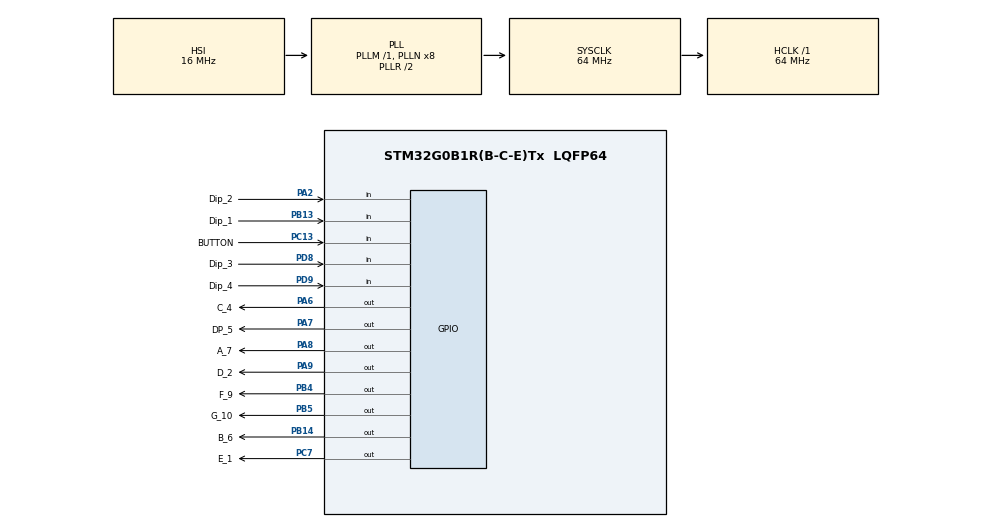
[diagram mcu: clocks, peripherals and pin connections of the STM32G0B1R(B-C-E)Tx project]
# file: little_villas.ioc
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Mcu.Family=STM32G0
Mcu.Name=STM32G0B1R(B-C-E)Tx
Mcu.Package=LQFP64
PA13.Mode=Serial_Wire
PA13.Signal=SYS_SWDIO
PA14-BOOT0.Mode=Serial_Wire
PA14-BOOT0.Signal=SYS_SWCLK
PA2.GPIO_Label=Dip_2
PA2.GPIO_PuPd=GPIO_PULLUP
PA2.Signal=GPIO_Input
PA6.GPIO_Label=C_4
PA6.Signal=GPIO_Output
PA7.GPIO_Label=DP_5
PA7.Signal=GPIO_Output
PA8.GPIO_Label=A_7
PA8.Signal=GPIO_Output
PA9.GPIO_Label=D_2
PA9.Signal=GPIO_Output
PB13.GPIO_Label=Dip_1
PB13.GPIO_PuPd=GPIO_PULLUP
PB13.Signal=GPIO_Input
PB14.GPIO_Label=B_6
PB14.Signal=GPIO_Output
PB4.GPIO_Label=F_9
PB4.Signal=GPIO_Output
PB5.GPIO_Label=G_10
PB5.Signal=GPIO_Output
PC13.GPIO_Label=BUTTON
PC13.Signal=GPIO_Input
PC7.GPIO_Label=E_1
PC7.Signal=GPIO_Output
PD8.GPIO_Label=Dip_3
PD8.GPIO_PuPd=GPIO_PULLUP
PD8.Signal=GPIO_Input
PD9.GPIO_Label=Dip_4
PD9.GPIO_PuPd=GPIO_PULLUP
PD9.Signal=GPIO_Input
ProjectManager.HeapSize=0x200
ProjectManager.StackSize=0x400
ProjectManager.TargetToolchain=STM32CubeIDE
RCC.ADCFreq_Value=64000000
RCC.AHBFreq_Value=64000000
RCC.CortexFreq_Value=64000000
RCC.EXTERNAL_CLOCK_VALUE=48000
RCC.HCLKFreq_Value=64000000
RCC.HSE_VALUE=8000000
RCC.HSI48_VALUE=48000000
RCC.HSI_VALUE=16000000
RCC.LSE_VALUE=32768
RCC.SYSCLKFreq_VALUE=64000000
RCC.SYSCLKSource=RCC_SYSCLKSOURCE_PLLCLK
RCC.USBFreq_Value=48000000
RCC.VCOOutputFreq_Value=128000000
VP_SYS_VS_DBSignals.Mode=DisableDeadBatterySignals
board=custom

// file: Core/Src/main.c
/* USER CODE BEGIN Header */
/**
  ******************************************************************************
  * @file           : main.c
  * @brief          : Main program body
  ******************************************************************************
  * @attention
  *
  * Copyright (c) 2022 STMicroelectronics.
  * All rights reserved.
  *
  * This software is licensed under terms that can be found in the LICENSE file
  * in the root directory of this software component.
  * If no LICENSE file comes with this software, it is provided AS-IS.
  *
  ******************************************************************************
  */
/* USER CODE END Header */
#include "main.h"
#include <stdint.h>

uint16_t soma_0;
uint8_t p_4;
uint8_t p_3;
uint8_t p_2;
uint8_t p_1;

void SystemClock_Config(void);
static void MX_GPIO_Init(void);

int main(void)
{

  /* MCU Configuration--------------------------------------------------------*/

  /* Reset of all peripherals, Initializes the Flash interface and the Systick. */
  HAL_Init();

  /* Configure the system clock */
  SystemClock_Config();

  /* Initialize all configured peripherals */
  MX_GPIO_Init();

  /* Infinite loop */
  /* USER CODE BEGIN WHILE */
  while (1)
  {
	p_4 = HAL_GPIO_ReadPin(Dip_4_GPIO_Port, Dip_4_Pin)*1;
	p_3 = HAL_GPIO_ReadPin(Dip_3_GPIO_Port, Dip_3_Pin)*2;
	p_2 = HAL_GPIO_ReadPin(Dip_2_GPIO_Port, Dip_2_Pin)*4;
	p_1 = HAL_GPIO_ReadPin(Dip_1_GPIO_Port, Dip_1_Pin)*8;

	soma_0 = p_4 + p_3 + p_2 + p_1;

	  switch(soma_0) {
	  	  	  case 0:
	  	  		HAL_GPIO_WritePin(A_7_GPIO_Port, A_7_Pin, 1);
	  	  	    HAL_GPIO_WritePin(B_6_GPIO_Port, B_6_Pin, 1);
	  	  		HAL_GPIO_WritePin(C_4_GPIO_Port, C_4_Pin, 1);
	  	  		HAL_GPIO_WritePin(D_2_GPIO_Port, D_2_Pin, 1);
	  	  		HAL_GPIO_WritePin(E_1_GPIO_Port, E_1_Pin, 1);
	  	  		HAL_GPIO_WritePin(F_9_GPIO_Port, F_9_Pin, 1);
	  	  		HAL_GPIO_WritePin(G_10_GPIO_Port, G_10_Pin, 0);
	  	  		HAL_GPIO_WritePin(DP_5_GPIO_Port, DP_5_Pin, 0);

	  		  	  break;

	  	  	  case 1:
	  	  		HAL_GPIO_WritePin(A_7_GPIO_Port, A_7_Pin, 0);
	  	  		HAL_GPIO_WritePin(B_6_GPIO_Port, B_6_Pin, 1);
	  	  		HAL_GPIO_WritePin(C_4_GPIO_Port, C_4_Pin, 1);
	  	  		HAL_GPIO_WritePin(D_2_GPIO_Port, D_2_Pin, 0);
	  	  		HAL_GPIO_WritePin(E_1_GPIO_Port, E_1_Pin, 0);
	  	  		HAL_GPIO_WritePin(F_9_GPIO_Port, F_9_Pin, 0);
	  	  		HAL_GPIO_WritePin(G_10_GPIO_Port, G_10_Pin, 0);
	  	  		HAL_GPIO_WritePin(DP_5_GPIO_Port, DP_5_Pin, 0);

	  	  		  break;

	  	  	  case 2:
	  	  		HAL_GPIO_WritePin(A_7_GPIO_Port, A_7_Pin, 1);
	  	  		HAL_GPIO_WritePin(B_6_GPIO_Port, B_6_Pin, 1);
	  	  		HAL_GPIO_WritePin(C_4_GPIO_Port, C_4_Pin, 0);
	  	  		HAL_GPIO_WritePin(D_2_GPIO_Port, D_2_Pin, 1);
	  	  		HAL_GPIO_WritePin(E_1_GPIO_Port, E_1_Pin, 1);
	  	  		HAL_GPIO_WritePin(F_9_GPIO_Port, F_9_Pin, 0);
	  	  		HAL_GPIO_WritePin(G_10_GPIO_Port, G_10_Pin, 1);
	  	  		HAL_GPIO_WritePin(DP_5_GPIO_Port, DP_5_Pin, 0);

	  	  		  break;

	  	  	  case 3:
	  	  		HAL_GPIO_WritePin(A_7_GPIO_Port, A_7_Pin, 1);
	  	  		HAL_GPIO_WritePin(B_6_GPIO_Port, B_6_Pin, 0);
	  	  		HAL_GPIO_WritePin(C_4_GPIO_Port, C_4_Pin, 0);
	  	  		HAL_GPIO_WritePin(D_2_GPIO_Port, D_2_Pin, 1);
	  	  		HAL_GPIO_WritePin(E_1_GPIO_Port, E_1_Pin, 1);
	  	  		HAL_GPIO_WritePin(F_9_GPIO_Port, F_9_Pin, 1);
				HAL_GPIO_WritePin(G_10_GPIO_Port, G_10_Pin, 1);
				HAL_GPIO_WritePin(DP_5_GPIO_Port, DP_5_Pin, 0);

	  	  		  break;

	  	  	  case 4:
	  	  		HAL_GPIO_WritePin(A_7_GPIO_Port, A_7_Pin, 0);
				HAL_GPIO_WritePin(B_6_GPIO_Port, B_6_Pin, 0);
				HAL_GPIO_WritePin(C_4_GPIO_Port, C_4_Pin, 1);
				HAL_GPIO_WritePin(D_2_GPIO_Port, D_2_Pin, 0);
				HAL_GPIO_WritePin(E_1_GPIO_Port, E_1_Pin, 1);
				HAL_GPIO_WritePin(F_9_GPIO_Port, F_9_Pin, 1);
				HAL_GPIO_WritePin(G_10_GPIO_Port, G_10_Pin, 1);
				HAL_GPIO_WritePin(DP_5_GPIO_Port, DP_5_Pin, 0);

	  	  		  break;

	  	  	  case 5:
	  	  		HAL_GPIO_WritePin(A_7_GPIO_Port, A_7_Pin, 1);
				HAL_GPIO_WritePin(B_6_GPIO_Port, B_6_Pin, 0);
				HAL_GPIO_WritePin(C_4_GPIO_Port, C_4_Pin, 1);
				HAL_GPIO_WritePin(D_2_GPIO_Port, D_2_Pin, 1);
				HAL_GPIO_WritePin(E_1_GPIO_Port, E_1_Pin, 0);
				HAL_GPIO_WritePin(F_9_GPIO_Port, F_9_Pin, 1);
				HAL_GPIO_WritePin(G_10_GPIO_Port, G_10_Pin, 1);
				HAL_GPIO_WritePin(DP_5_GPIO_Port, DP_5_Pin, 0);

	  	  		  break;

	  	  	  case 6:
	  	  		HAL_GPIO_WritePin(A_7_GPIO_Port, A_7_Pin, 1);
				HAL_GPIO_WritePin(B_6_GPIO_Port, B_6_Pin, 1);
				HAL_GPIO_WritePin(C_4_GPIO_Port, C_4_Pin, 1);
				HAL_GPIO_WritePin(D_2_GPIO_Port, D_2_Pin, 1);
				HAL_GPIO_WritePin(E_1_GPIO_Port, E_1_Pin, 0);
				HAL_GPIO_WritePin(F_9_GPIO_Port, F_9_Pin, 1);
				HAL_GPIO_WritePin(G_10_GPIO_Port, G_10_Pin, 1);
				HAL_GPIO_WritePin(DP_5_GPIO_Port, DP_5_Pin, 0);

	  	  		  break;

	  	  	  case 7:
	  	  		HAL_GPIO_WritePin(A_7_GPIO_Port, A_7_Pin, 0);
				HAL_GPIO_WritePin(B_6_GPIO_Port, B_6_Pin, 0);
				HAL_GPIO_WritePin(C_4_GPIO_Port, C_4_Pin, 0);
				HAL_GPIO_WritePin(D_2_GPIO_Port, D_2_Pin, 1);
				HAL_GPIO_WritePin(E_1_GPIO_Port, E_1_Pin, 1);
				HAL_GPIO_WritePin(F_9_GPIO_Port, F_9_Pin, 1);
				HAL_GPIO_WritePin(G_10_GPIO_Port, G_10_Pin, 0);
				HAL_GPIO_WritePin(DP_5_GPIO_Port, DP_5_Pin, 0);

	  	  		  break;

	  	  	  case 8:
	  	  		  HAL_GPIO_WritePin(A_7_GPIO_Port, A_7_Pin, 1);
	  	  		  HAL_GPIO_WritePin(B_6_GPIO_Port, B_6_Pin, 1);
	  	  		  HAL_GPIO_WritePin(C_4_GPIO_Port, C_4_Pin, 1);
	  	  		  HAL_GPIO_WritePin(D_2_GPIO_Port, D_2_Pin, 1);
	  	  		  HAL_GPIO_WritePin(E_1_GPIO_Port, E_1_Pin, 1);
	  	  		  HAL_GPIO_WritePin(F_9_GPIO_Port, F_9_Pin, 1);
	  	  		  HAL_GPIO_WritePin(G_10_GPIO_Port, G_10_Pin, 1);
	  	  		  HAL_GPIO_WritePin(DP_5_GPIO_Port, DP_5_Pin, 0);

	  	  		  break;

	  	  	  case 9:
	  	  		  HAL_GPIO_WritePin(A_7_GPIO_Port, A_7_Pin, 1);
	  	  		  HAL_GPIO_WritePin(B_6_GPIO_Port, B_6_Pin, 0);
	  	  		  HAL_GPIO_WritePin(C_4_GPIO_Port, C_4_Pin, 1);
	  	  		  HAL_GPIO_WritePin(D_2_GPIO_Port, D_2_Pin, 1);
	  	  		  HAL_GPIO_WritePin(E_1_GPIO_Port, E_1_Pin, 1);
	  	  		  HAL_GPIO_WritePin(F_9_GPIO_Port, F_9_Pin, 1);
	  	  		  HAL_GPIO_WritePin(G_10_GPIO_Port, G_10_Pin, 1);
	  	  		  HAL_GPIO_WritePin(DP_5_GPIO_Port, DP_5_Pin, 0);

	  	  		  break;

	  	  	  case 10:
	  	  		  HAL_GPIO_WritePin(A_7_GPIO_Port, A_7_Pin, 0);
	  	  		  HAL_GPIO_WritePin(B_6_GPIO_Port, B_6_Pin, 1);
	  	  		  HAL_GPIO_WritePin(C_4_GPIO_Port, C_4_Pin, 1);
	  	  		  HAL_GPIO_WritePin(D_2_GPIO_Port, D_2_Pin, 1);
	  	  		  HAL_GPIO_WritePin(E_1_GPIO_Port, E_1_Pin, 1);
	  	  		  HAL_GPIO_WritePin(F_9_GPIO_Port, F_9_Pin, 1);
	  	  		  HAL_GPIO_WritePin(G_10_GPIO_Port, G_10_Pin, 1);
	  	  		  HAL_GPIO_WritePin(DP_5_GPIO_Port, DP_5_Pin, 1);
	  	  		  break;

	  	  	  case 11:
	  	  		  HAL_GPIO_WritePin(A_7_GPIO_Port, A_7_Pin, 1);
	  	  		  HAL_GPIO_WritePin(B_6_GPIO_Port, B_6_Pin, 1);
	  	  		  HAL_GPIO_WritePin(C_4_GPIO_Port, C_4_Pin, 1);
	  		  	  HAL_GPIO_WritePin(D_2_GPIO_Port, D_2_Pin, 1);
	  		  	  HAL_GPIO_WritePin(E_1_GPIO_Port, E_1_Pin, 1);
	  		  	  HAL_GPIO_WritePin(F_9_GPIO_Port, F_9_Pin, 1);
	  		  	  HAL_GPIO_WritePin(G_10_GPIO_Port, G_10_Pin, 1);
	  		  	  HAL_GPIO_WritePin(DP_5_GPIO_Port, DP_5_Pin, 1);
	  		  	  break;

	  	  	  case 12:
	  	  		  HAL_GPIO_WritePin(A_7_GPIO_Port, A_7_Pin, 1);
	  	  		  HAL_GPIO_WritePin(B_6_GPIO_Port, B_6_Pin, 1);
				  HAL_GPIO_WritePin(C_4_GPIO_Port, C_4_Pin, 1);
	  	  		  HAL_GPIO_WritePin(D_2_GPIO_Port, D_2_Pin, 1);
	  	  		  HAL_GPIO_WritePin(E_1_GPIO_Port, E_1_Pin, 0);
	  	  		  HAL_GPIO_WritePin(F_9_GPIO_Port, F_9_Pin, 0);
	  	  		  HAL_GPIO_WritePin(G_10_GPIO_Port, G_10_Pin, 0);
	  	  		  HAL_GPIO_WritePin(DP_5_GPIO_Port, DP_5_Pin, 1);
	  	  		  break;

	  	  	  case 13:
	  	  		  HAL_GPIO_WritePin(A_7_GPIO_Port, A_7_Pin, 1);
	  	  		  HAL_GPIO_WritePin(B_6_GPIO_Port, B_6_Pin, 1);
	  	  		  HAL_GPIO_WritePin(C_4_GPIO_Port, C_4_Pin, 1);
	  	  		  HAL_GPIO_WritePin(D_2_GPIO_Port, D_2_Pin, 1);
	  	  		  HAL_GPIO_WritePin(E_1_GPIO_Port, E_1_Pin, 1);
	  	  		  HAL_GPIO_WritePin(F_9_GPIO_Port, F_9_Pin, 1);
	  	  		  HAL_GPIO_WritePin(G_10_GPIO_Port, G_10_Pin, 0);
	  	  		  HAL_GPIO_WritePin(DP_5_GPIO_Port, DP_5_Pin, 1);
	  	  		  break;

	  	  	  case 14:
	  	  		  HAL_GPIO_WritePin(A_7_GPIO_Port, A_7_Pin, 1);
	  	  		  HAL_GPIO_WritePin(B_6_GPIO_Port, B_6_Pin, 1);
				  HAL_GPIO_WritePin(C_4_GPIO_Port, C_4_Pin, 1);
	  	  		  HAL_GPIO_WritePin(D_2_GPIO_Port, D_2_Pin, 1);
	  	  		  HAL_GPIO_WritePin(E_1_GPIO_Port, E_1_Pin, 0);
	  	  		  HAL_GPIO_WritePin(F_9_GPIO_Port, F_9_Pin, 0);
	  	  		  HAL_GPIO_WritePin(G_10_GPIO_Port, G_10_Pin, 1);
	  	  		  HAL_GPIO_WritePin(DP_5_GPIO_Port, DP_5_Pin, 1);
	  	  		  break;

	  	  	  case 15:
	  	  		  HAL_GPIO_WritePin(A_7_GPIO_Port, A_7_Pin, 0);
	  	  		  HAL_GPIO_WritePin(B_6_GPIO_Port, B_6_Pin, 1);
				  HAL_GPIO_WritePin(C_4_GPIO_Port, C_4_Pin, 1);
				  HAL_GPIO_WritePin(D_2_GPIO_Port, D_2_Pin, 1);
	  	  		  HAL_GPIO_WritePin(E_1_GPIO_Port, E_1_Pin, 0);
	  	  		  HAL_GPIO_WritePin(F_9_GPIO_Port, F_9_Pin, 0);
	  	  		  HAL_GPIO_WritePin(G_10_GPIO_Port, G_10_Pin, 1);
	  	  		  HAL_GPIO_WritePin(DP_5_GPIO_Port, DP_5_Pin, 1);
	  	  		  break;

	  	  	  default:
	  	  		  break;

	  	  	 }

    /* USER CODE END WHILE */

  }
}

void SystemClock_Config(void)
{
  RCC_OscInitTypeDef RCC_OscInitStruct = {0};
  RCC_ClkInitTypeDef RCC_ClkInitStruct = {0};

  /** Configure the main internal regulator output voltage
  */
  HAL_PWREx_ControlVoltageScaling(PWR_REGULATOR_VOLTAGE_SCALE1);
  /** Initializes the RCC Oscillators according to the specified parameters
  * in the RCC_OscInitTypeDef structure.
  */
  RCC_OscInitStruct.OscillatorType = RCC_OSCILLATORTYPE_HSI;
  RCC_OscInitStruct.HSIState = RCC_HSI_ON;
  RCC_OscInitStruct.HSIDiv = RCC_HSI_DIV1;
  RCC_OscInitStruct.HSICalibrationValue = RCC_HSICALIBRATION_DEFAULT;
  RCC_OscInitStruct.PLL.PLLState = RCC_PLL_ON;
  RCC_OscInitStruct.PLL.PLLSource = RCC_PLLSOURCE_HSI;
  RCC_OscInitStruct.PLL.PLLM = RCC_PLLM_DIV1;
  RCC_OscInitStruct.PLL.PLLN = 8;
  RCC_OscInitStruct.PLL.PLLP = RCC_PLLP_DIV2;
  RCC_OscInitStruct.PLL.PLLQ = RCC_PLLQ_DIV2;
  RCC_OscInitStruct.PLL.PLLR = RCC_PLLR_DIV2;
  if (HAL_RCC_OscConfig(&RCC_OscInitStruct) != HAL_OK)
  {
    Error_Handler();
  }
  /** Initializes the CPU, AHB and APB buses clocks
  */
  RCC_ClkInitStruct.ClockType = RCC_CLOCKTYPE_HCLK|RCC_CLOCKTYPE_SYSCLK
                              |RCC_CLOCKTYPE_PCLK1;
  RCC_ClkInitStruct.SYSCLKSource = RCC_SYSCLKSOURCE_PLLCLK;
  RCC_ClkInitStruct.AHBCLKDivider = RCC_SYSCLK_DIV1;
  RCC_ClkInitStruct.APB1CLKDivider = RCC_HCLK_DIV1;

  if (HAL_RCC_ClockConfig(&RCC_ClkInitStruct, FLASH_LATENCY_2) != HAL_OK)
  {
    Error_Handler();
  }
}

static void MX_GPIO_Init(void)
{
  GPIO_InitTypeDef GPIO_InitStruct = {0};

  /* GPIO Ports Clock Enable */
  __HAL_RCC_GPIOC_CLK_ENABLE();
  __HAL_RCC_GPIOA_CLK_ENABLE();
  __HAL_RCC_GPIOB_CLK_ENABLE();
  __HAL_RCC_GPIOD_CLK_ENABLE();

  /*Configure GPIO pin Output Level */
  HAL_GPIO_WritePin(GPIOA, C_4_Pin|DP_5_Pin|A_7_Pin|D_2_Pin, GPIO_PIN_RESET);

  /*Configure GPIO pin Output Level */
  HAL_GPIO_WritePin(GPIOB, B_6_Pin|F_9_Pin|G_10_Pin, GPIO_PIN_RESET);

  /*Configure GPIO pin Output Level */
  HAL_GPIO_WritePin(E_1_GPIO_Port, E_1_Pin, GPIO_PIN_RESET);

  /*Configure GPIO pin : BUTTON_Pin */
  GPIO_InitStruct.Pin = BUTTON_Pin;
  GPIO_InitStruct.Mode = GPIO_MODE_INPUT;
  GPIO_InitStruct.Pull = GPIO_NOPULL;
  HAL_GPIO_Init(BUTTON_GPIO_Port, &GPIO_InitStruct);

  /*Configure GPIO pin : Dip_2_Pin */
  GPIO_InitStruct.Pin = Dip_2_Pin;
  GPIO_InitStruct.Mode = GPIO_MODE_INPUT;
  GPIO_InitStruct.Pull = GPIO_PULLUP;
  HAL_GPIO_Init(Dip_2_GPIO_Port, &GPIO_InitStruct);

  /*Configure GPIO pins : C_4_Pin DP_5_Pin A_7_Pin D_2_Pin */
  GPIO_InitStruct.Pin = C_4_Pin|DP_5_Pin|A_7_Pin|D_2_Pin;
  GPIO_InitStruct.Mode = GPIO_MODE_OUTPUT_PP;
  GPIO_InitStruct.Pull = GPIO_NOPULL;
  GPIO_InitStruct.Speed = GPIO_SPEED_FREQ_LOW;
  HAL_GPIO_Init(GPIOA, &GPIO_InitStruct);

  /*Configure GPIO pin : Dip_1_Pin */
  GPIO_InitStruct.Pin = Dip_1_Pin;
  GPIO_InitStruct.Mode = GPIO_MODE_INPUT;
  GPIO_InitStruct.Pull = GPIO_PULLUP;
  HAL_GPIO_Init(Dip_1_GPIO_Port, &GPIO_InitStruct);

  /*Configure GPIO pins : B_6_Pin F_9_Pin G_10_Pin */
  GPIO_InitStruct.Pin = B_6_Pin|F_9_Pin|G_10_Pin;
  GPIO_InitStruct.Mode = GPIO_MODE_OUTPUT_PP;
  GPIO_InitStruct.Pull = GPIO_NOPULL;
  GPIO_InitStruct.Speed = GPIO_SPEED_FREQ_LOW;
  HAL_GPIO_Init(GPIOB, &GPIO_InitStruct);

  /*Configure GPIO pin : E_1_Pin */
  GPIO_InitStruct.Pin = E_1_Pin;
  GPIO_InitStruct.Mode = GPIO_MODE_OUTPUT_PP;
  GPIO_InitStruct.Pull = GPIO_NOPULL;
  GPIO_InitStruct.Speed = GPIO_SPEED_FREQ_LOW;
  HAL_GPIO_Init(E_1_GPIO_Port, &GPIO_InitStruct);

  /*Configure GPIO pins : Dip_3_Pin Dip_4_Pin */
  GPIO_InitStruct.Pin = Dip_3_Pin|Dip_4_Pin;
  GPIO_InitStruct.Mode = GPIO_MODE_INPUT;
  GPIO_InitStruct.Pull = GPIO_PULLUP;
  HAL_GPIO_Init(GPIOD, &GPIO_InitStruct);

}

void Error_Handler(void)
{
  __disable_irq();
  while (1)
  {
  }
}
